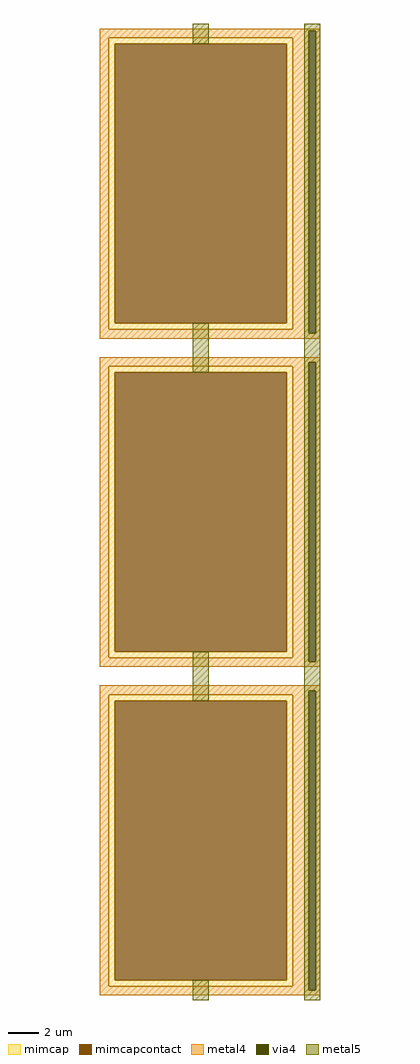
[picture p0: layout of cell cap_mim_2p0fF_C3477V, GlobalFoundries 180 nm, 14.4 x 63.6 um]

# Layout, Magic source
magic
tech gf180mcuD
magscale 1 10
<< mimcap >>
rect -1320 6220 1080 6300
rect -1320 2580 -1240 6220
rect 1000 2580 1080 6220
rect -1320 2500 1080 2580
rect -1320 1940 1080 2020
rect -1320 -1700 -1240 1940
rect 1000 -1700 1080 1940
rect -1320 -1780 1080 -1700
rect -1320 -2340 1080 -2260
rect -1320 -5980 -1240 -2340
rect 1000 -5980 1080 -2340
rect -1320 -6060 1080 -5980
<< mimcapcontact >>
rect -1240 2580 1000 6220
rect -1240 -1700 1000 1940
rect -1240 -5980 1000 -2340
<< metal4 >>
rect -1440 6393 1440 6420
rect -1440 6300 1290 6393
rect -1440 2500 -1320 6300
rect 1080 2500 1290 6300
rect -1440 2447 1290 2500
rect 1378 2447 1440 6393
rect -1440 2380 1440 2447
rect -1440 2073 1440 2140
rect -1440 2020 1290 2073
rect -1440 -1780 -1320 2020
rect 1080 -1780 1290 2020
rect -1440 -1833 1290 -1780
rect 1378 -1833 1440 2073
rect -1440 -1900 1440 -1833
rect -1440 -2207 1440 -2140
rect -1440 -2260 1290 -2207
rect -1440 -6060 -1320 -2260
rect 1080 -6060 1290 -2260
rect -1440 -6113 1290 -6060
rect 1378 -6113 1440 -2207
rect -1440 -6180 1440 -6113
<< via4 >>
rect 1290 2447 1378 6393
rect 1290 -1833 1378 2073
rect 1290 -6113 1378 -2207
<< metal5 >>
rect -226 6220 -14 6480
rect 1228 6393 1440 6480
rect -226 1940 -14 2580
rect 1228 2447 1290 6393
rect 1378 2447 1440 6393
rect 1228 2073 1440 2447
rect -226 -2340 -14 -1700
rect 1228 -1833 1290 2073
rect 1378 -1833 1440 2073
rect 1228 -2207 1440 -1833
rect -226 -6240 -14 -5980
rect 1228 -6113 1290 -2207
rect 1378 -6113 1440 -2207
rect 1228 -6240 1440 -6113
<< properties >>
string FIXED_BBOX -1440 2140 1200 6180
string gencell cap_mim_2p0fF
string library gf180mcu
string parameters w 12.0 l 19.0 val 468.494 carea 1.99 cperi 0.2383 class capacitor nx 1 ny 3 dummy 0 square 0 lmin 5.00 wmin 5.00 lmax 100.0 wmax 100.0 dc 0 bconnect 1 tconnect 1
<< end >>
